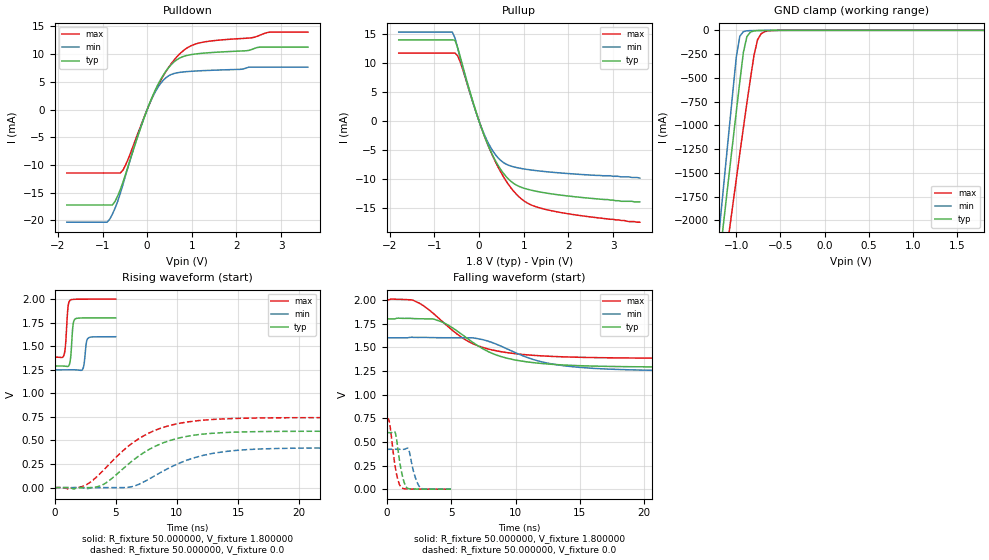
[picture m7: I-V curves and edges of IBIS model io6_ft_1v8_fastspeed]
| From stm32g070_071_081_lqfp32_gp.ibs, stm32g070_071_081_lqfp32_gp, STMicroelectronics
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|   Model io6_ft_1v8_fastspeed
[Model]  io6_ft_1v8_fastspeed
Model_type I/O
Polarity   Non-Inverting
Enable   Active-Low
Vinl =   0.540000V
Vinh =   1.260000V
Vmeas =  0.900000V
Cref =   30.000000pF
Rref =   100.000000M
Vref =   0.0V
C_comp   1.277600pF   1.236700pF   1.315100pF
[Temperature Range]   25.000000   -40.000000   0.125000k
[Pullup Reference]   1.800000V   1.600000V   2.000000V
[Pulldown Reference]   0.0V   0.0V   0.0V
[POWER Clamp Reference]   1.800000V   1.600000V   2.000000V
[GND Clamp Reference]   0.0V   0.0V   0.0V
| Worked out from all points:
|   slope of the pulldown table from 0 to 0.27 V, typ, clamps not added: 54.7 ohm
|   slope of the pullup table from 0 to 0.27 V, typ, clamps not added: 50.6 ohm
|   GND clamp passes 1 mA (typ) near -0.66 V on its own axis
|   rising waveform, R_fixture 50.000000, V_fixture 1.800000: 20-80 % time 165ps typ, 169ps min, 180ps max; typ from 1.29 V to 1.8 V
|   rising waveform, R_fixture 50.000000, V_fixture 0.0: 20-80 % time 4.07ns typ, 4.38ns min, 4.26ns max; typ from 0 V to 0.598 V
|   falling waveform, R_fixture 50.000000, V_fixture 1.800000: 20-80 % time 3.95ns typ, 4.46ns min, 3.82ns max; typ from 1.8 V to 1.29 V
|   falling waveform, R_fixture 50.000000, V_fixture 0.0: 20-80 % time 437ps typ, 479ps min, 450ps max; typ from 0.598 V to 0 V
[Pulldown]
|Voltage   I(typ)   I(min)   I(max)
-1.8V     -17.22mA   -20.33mA   -11.45mA
-900mV    -17.22mA   -20.33mA   -11.45mA
-720mV    -16.58mA   -17.82mA   -11.45mA
-600mV    -14.41mA   -15.08mA   -11.45mA
-480mV    -11.58mA   -11.79mA   -9.954mA
0V        10fA       11fA       0A
240mV     4.49mA     3.999mA    4.291mA
480mV     7.563mA    6.085mA    7.612mA
780mV     9.487mA    6.76mA     10.43mA
1.14V     10.08mA    6.976mA    11.96mA
2.76V     11.26mA    7.652mA    13.98mA
3.6V      11.26mA    7.652mA    13.98mA
[Pullup]
|Voltage   I(typ)   I(min)   I(max)
-1.8V     14mA       15.34mA    11.72mA
-600mV    14mA       15.34mA    11.72mA
-540mV    13.93mA    14.32mA    11.72mA
-420mV    11.01mA    10.78mA    10.15mA
-180mV    4.421mA    4.232mA    4.225mA
60mV      -1.349mA   -1.244mA   -1.314mA
300mV     -5.831mA   -5.038mA   -5.917mA
600mV     -9.499mA   -7.385mA   -10.25mA
960mV     -11.43mA   -8.172mA   -13.47mA
1.32V     -12.13mA   -8.557mA   -14.86mA
2.16V     -13.03mA   -9.116mA   -16.14mA
3.6V      -13.9mA    -9.8mA     -17.4mA
[GND_clamp]
|Voltage   I(typ)   I(min)   I(max)
-1.8V     -7.471A    -7.973A    -7.298A
-1.2V     -2.489A    -2.18A     -2.954A
-1.16V    -2.16A     -1.797A    -2.674A
-1.08V    -1.505A    -1.034A    -2.118A
-1V       -857.9mA   -283.1mA   -1.568A
-960mV    -540.4mA   -62.14mA   -1.296A
-920mV    -234.4mA   -13.75mA   -1.028A
-880mV    -66.29mA   -4.855mA   -765.3mA
-800mV    -6.505mA   -2.056mA   -266mA
-760mV    -3.074mA   -1.45mA    -100.4mA
-680mV    -1.215mA   -557.1uA   -14.19mA
1.8V      0A         0A         0A
[POWER_clamp]
|Voltage   I(typ)   I(min)   I(max)
-1.8V     0A         0A         0A
0V        0A         0A         0A
[Ramp]
| variable   typ   min   max
dV/dt_r  0.35857/4.06140n   0.25271/4.37750n   0.44174/4.25525n
dV/dt_f  0.30570/3.93750n   0.21030/4.44000n   0.37008/3.81562n
R_load = 50.000000
[Rising Waveform]
R_fixture= 50.000000
V_fixture= 1.800000
V_fixture_min= 1.600000
V_fixture_max= 2.000000
|time   V(typ)   V(min)   V(max)
0s        1.29V      1.249V     1.383V
770.8ps   1.288V     1.249V     1.413V
880.9ps   1.287V     1.249V     1.515V
1.081ns   1.285V     1.249V     1.912V
1.241ns   1.328V     1.249V     1.985V
1.491ns   1.721V     1.249V     1.996V
1.662ns   1.787V     1.249V     1.997V
2.302ns   1.799V     1.26V      1.998V
2.713ns   1.8V       1.583V     1.999V
4.985ns   1.8V       1.6V       2V
[Rising Waveform]
R_fixture= 50.000000
V_fixture= 0.0
V_fixture_min= 0.0
V_fixture_max= 0.0
|time   V(typ)   V(min)   V(max)
0s        -1.302uV   812.8nV    119.3nV
2.222ns   -952uV     -326.2uV   10.6mV
3.664ns   15.81mV    -606.4uV   142.4mV
5.586ns   199.7mV    -268.5uV   391mV
6.847ns   332.1mV    33.02mV    515.7mV
8.348ns   445.7mV    137.2mV    614.2mV
10.21ns   527.2mV    259.8mV    681.7mV
12.97ns   576.4mV    363.7mV    722.9mV
15.86ns   591.8mV    403.6mV    736.3mV
29.91ns   597.8mV    421.2mV    742.3mV
[Falling Waveform]
R_fixture= 50.000000
V_fixture= 1.800000
V_fixture_min= 1.600000
V_fixture_max= 2.000000
|time   V(typ)   V(min)   V(max)
0s        1.8V       1.6V       2V
2.042ns   1.803V     1.605V     1.996V
3.664ns   1.797V     1.601V     1.852V
4.805ns   1.731V     1.6V       1.713V
6.306ns   1.588V     1.6V       1.563V
7.928ns   1.451V     1.561V     1.48V
9.369ns   1.383V     1.481V     1.442V
11.89ns   1.33V      1.35V      1.41V
14.95ns   1.305V     1.287V     1.394V
29.91ns   1.29V      1.249V     1.383V
[Falling Waveform]
R_fixture= 50.000000
V_fixture= 0.0
V_fixture_min= 0.0
V_fixture_max= 0.0
|time   V(typ)   V(min)   V(max)
0s        597.8mV    421.2mV    742.3mV
230.2ps   597.3mV    421.3mV    694.6mV
660.7ps   598mV      421.5mV    238.2mV
870.9ps   424.3mV    421.4mV    97.81mV
1.101ns   217.7mV    421mV      23.34mV
1.381ns   61.79mV    422.4mV    4.382mV
1.682ns   6.505mV    426.3mV    2.064mV
2.172ns   1.368mV    144.8mV    1.225mV
2.623ns   599.4uV    13.21mV    861.6uV
4.985ns   -1.302uV   812.8nV    119.3nV
